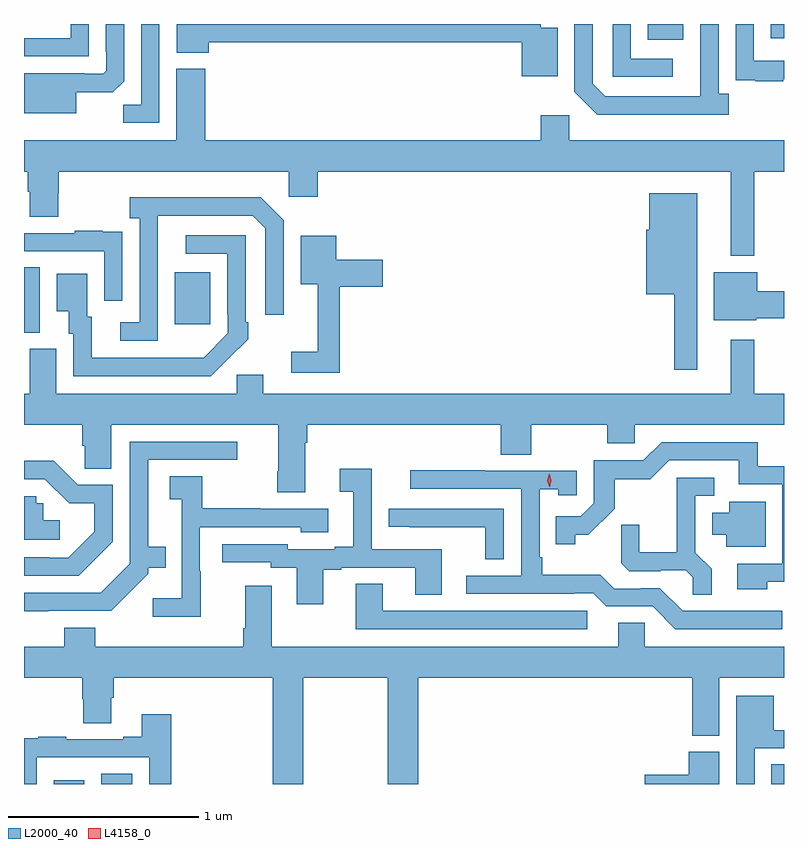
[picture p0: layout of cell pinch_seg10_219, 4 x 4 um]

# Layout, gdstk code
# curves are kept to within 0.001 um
import gdstk
lib = gdstk.Library(unit=1e-6, precision=1e-09)
def R(c, l, rs):  # rectangles x0, y0, x1, y1
    for r in rs: c.add(gdstk.rectangle(r[:2], r[2:], *l))
def P(c, l, *ps):  # polygons
    for p in ps: c.add(gdstk.Polygon(p, *l))
L2000_40 = (2000, 40)
L4158_0 = (4158, 0)

pinch_seg10_219 = lib.new_cell('pinch_seg10_219')
R(pinch_seg10_219, L2000_40, [(623.321,1297.093,623.482,1297.114), (623.57,1297.093,623.734,1297.148), (627.098,1297.093,627.164,1297.196), (623.164,1299.469,623.248,1299.812), (623.957,1299.513,624.145,1299.787), (626.447,1301.009,626.635,1301.093), (627.095,1301.019,627.164,1301.093)])
P(pinch_seg10_219, L2000_40, [(623.505,1301.093),(623.409,1301.093),(623.409,1301.019),(623.164,1301.019),(623.164,1300.923),(623.505,1300.923)],
  [(625.972,1301.074),(625.883,1301.074),(625.883,1301.093),(623.969,1301.093),(623.969,1300.943),(624.136,1300.943),(624.136,1300.996),(625.785,1300.996),(625.785,1300.817),(625.972,1300.817)],
  [(627.161,1300.803),(627.164,1300.803),(627.164,1300.899),(627.006,1300.899),(627.006,1301.093),(626.91,1301.093),(626.91,1300.906),(626.911,1300.906),(626.911,1300.797),(627.013,1300.797),(627.013,1300.791),(627.161,1300.791)],
  [(626.578,1300.911),(626.358,1300.911),(626.358,1301.093),(626.262,1301.093),(626.262,1300.815),(626.578,1300.815)],
  [(626.872,1300.726),(626.82,1300.726),(626.82,1301.093),(626.724,1301.093),(626.723,1300.713),(626.223,1300.713),(626.157,1300.779),(626.157,1301.093),(626.061,1301.093),(626.061,1300.737),(626.182,1300.616),(626.872,1300.616)],
  [(623.877,1301.093),(623.781,1301.093),(623.781,1300.667),(623.686,1300.667),(623.686,1300.572),(623.877,1300.572)],
  [(623.44,1300.733),(623.632,1300.733),(623.691,1300.792),(623.691,1301.093),(623.595,1301.093),(623.595,1300.948),(623.598,1300.948),(623.598,1300.848),(623.58,1300.83),(623.48,1300.83),(623.48,1300.834),(623.164,1300.834),(623.164,1300.622),(623.44,1300.622)],
  [(627.007,1300.316),(627.164,1300.316),(627.164,1300.48),(626.034,1300.48),(626.034,1300.612),(625.883,1300.612),(625.883,1300.48),(624.119,1300.48),(624.119,1300.858),(623.966,1300.858),(623.966,1300.48),(623.164,1300.48),(623.164,1300.316),(623.183,1300.316),(623.183,1300.21),(623.195,1300.21),(623.195,1300.078),(623.343,1300.078),(623.343,1300.203),(623.348,1300.203),(623.348,1300.316),(624.558,1300.316),(624.558,1300.185),(624.71,1300.185),(624.71,1300.316),(626.885,1300.316),(626.885,1299.872),(627.007,1299.872)],
  [(626.707,1300.201),(626.456,1300.201),(626.456,1300.011),(626.438,1300.011),(626.438,1299.671),(626.586,1299.671),(626.586,1299.273),(626.707,1299.273)],
  [(623.868,1299.883),(623.869,1300.083),(624.369,1300.083),(624.435,1300.017),(624.435,1299.564),(624.531,1299.564),(624.531,1300.059),(624.41,1300.18),(623.721,1300.18),(623.721,1300.07),(623.772,1300.07),(623.772,1299.522),(623.67,1299.522),(623.67,1299.426),(623.868,1299.426)],
  [(623.682,1299.89),(623.681,1299.89),(623.681,1299.999),(623.579,1299.999),(623.579,1300.006),(623.431,1300.006),(623.431,1299.993),(623.164,1299.993),(623.164,1299.897),(623.586,1299.897),(623.586,1299.636),(623.682,1299.636)],
  [(624.239,1299.331),(624.24,1299.33),(624.345,1299.435),(624.345,1299.523),(624.33,1299.523),(624.33,1299.981),(624.015,1299.981),(624.015,1299.885),(624.234,1299.885),(624.234,1299.565),(624.237,1299.565),(624.237,1299.465),(624.109,1299.337),(623.521,1299.336),(623.521,1299.552),(623.497,1299.552),(623.497,1299.778),(623.336,1299.778),(623.336,1299.581),(623.399,1299.581),(623.399,1299.462),(623.424,1299.462),(623.424,1299.24),(624.148,1299.24)],
  [(624.827,1299.71),(625.051,1299.71),(625.051,1299.852),(624.808,1299.852),(624.808,1299.979),(624.62,1299.979),(624.62,1299.722),(624.71,1299.722),(624.71,1299.367),(624.57,1299.367),(624.57,1299.258),(624.827,1299.258)],
  [(627.018,1299.544),(627.164,1299.544),(627.164,1299.686),(627.022,1299.686),(627.022,1299.787),(626.795,1299.787),(626.795,1299.533),(627.018,1299.533)],
  [(624.424,1299.246),(624.285,1299.246),(624.285,1299.148),(623.335,1299.148),(623.335,1299.384),(623.195,1299.384),(623.195,1299.148),(623.164,1299.148),(623.164,1298.984),(623.471,1298.984),(623.471,1298.874),(623.485,1298.874),(623.485,1298.752),(623.623,1298.752),(623.623,1298.984),(624.503,1298.984),(624.503,1298.74),(624.496,1298.74),(624.496,1298.628),(624.643,1298.628),(624.643,1298.888),(624.656,1298.888),(624.656,1298.984),(625.673,1298.984),(625.673,1298.827),(625.833,1298.827),(625.833,1298.984),(626.233,1298.984),(626.233,1298.886),(626.379,1298.886),(626.379,1298.984),(627.164,1298.984),(627.164,1299.148),(627.007,1299.148),(627.007,1299.43),(626.885,1299.43),(626.885,1299.148),(624.424,1299.148)],
  [(623.291,1298.004),(623.622,1298.004),(623.817,1298.199),(623.817,1298.231),(623.909,1298.231),(623.909,1298.341),(623.818,1298.341),(623.818,1298.799),(624.286,1298.799),(624.286,1298.895),(623.721,1298.895),(623.721,1298.253),(623.568,1298.1),(623.164,1298.1),(623.164,1298.003)],
  [(627.075,1298.157),(627.164,1298.157),(627.164,1298.766),(627.026,1298.766),(627.026,1298.892),(626.52,1298.892),(626.424,1298.796),(626.163,1298.796),(626.163,1298.571),(626.094,1298.502),(625.963,1298.502),(625.963,1298.355),(626.064,1298.355),(626.064,1298.405),(626.134,1298.405),(626.272,1298.542),(626.272,1298.698),(626.461,1298.698),(626.559,1298.796),(626.927,1298.796),(626.927,1298.67),(627.156,1298.67),(627.156,1298.253),(626.919,1298.253),(626.919,1298.117),(627.075,1298.117)],
  [(623.631,1298.369),(623.631,1298.667),(623.448,1298.667),(623.32,1298.795),(623.164,1298.795),(623.164,1298.697),(623.274,1298.697),(623.401,1298.57),(623.534,1298.57),(623.534,1298.42),(623.397,1298.283),(623.297,1298.283),(623.297,1298.286),(623.164,1298.286),(623.164,1298.19),(623.452,1298.19)],
  [(624.739,1298.22),(624.835,1298.22),(624.835,1298.232),(625.223,1298.232),(625.223,1298.089),(625.363,1298.089),(625.363,1298.328),(624.993,1298.328),(624.993,1298.752),(624.825,1298.752),(624.825,1298.632),(624.896,1298.632),(624.896,1298.341),(624.8,1298.341),(624.8,1298.328),(624.552,1298.328),(624.552,1298.355),(624.207,1298.355),(624.207,1298.259),(624.462,1298.259),(624.462,1298.232),(624.599,1298.232),(624.599,1298.04),(624.739,1298.04)],
  [(627.154,1298.004),(626.631,1298.004),(626.511,1298.124),(626.41,1298.124),(626.41,1298.121),(626.271,1298.121),(626.198,1298.194),(625.891,1298.194),(625.891,1298.287),(625.878,1298.287),(625.878,1298.645),(625.977,1298.645),(625.977,1298.613),(626.073,1298.613),(626.073,1298.742),(625.589,1298.742),(625.589,1298.745),(625.197,1298.745),(625.197,1298.646),(625.782,1298.646),(625.782,1298.19),(625.491,1298.19),(625.491,1298.094),(626.06,1298.094),(626.06,1298.097),(626.16,1298.097),(626.229,1298.028),(626.472,1298.028),(626.592,1297.908),(627.154,1297.908)],
  [(624.093,1298.213),(624.09,1298.213),(624.09,1298.445),(624.621,1298.445),(624.621,1298.417),(624.766,1298.417),(624.766,1298.541),(624.407,1298.541),(624.407,1298.544),(624.103,1298.544),(624.103,1298.714),(623.931,1298.714),(623.931,1298.593),(623.994,1298.593),(623.994,1298.071),(623.841,1298.071),(623.841,1297.973),(624.093,1297.973)],
  [(626.783,1298.225),(626.697,1298.311),(626.697,1298.61),(626.797,1298.61),(626.797,1298.706),(626.6,1298.706),(626.6,1298.314),(626.402,1298.314),(626.402,1298.457),(626.308,1298.457),(626.308,1298.255),(626.349,1298.214),(626.514,1298.214),(626.514,1298.217),(626.648,1298.217),(626.685,1298.18),(626.685,1298.089),(626.783,1298.089)],
  [(623.353,1298.482),(623.265,1298.482),(623.265,1298.571),(623.229,1298.571),(623.229,1298.607),(623.164,1298.607),(623.164,1298.379),(623.353,1298.379)],
  [(627.067,1298.578),(626.876,1298.578),(626.876,1298.521),(626.786,1298.521),(626.786,1298.405),(626.861,1298.405),(626.861,1298.342),(627.067,1298.342)],
  [(625.689,1298.541),(625.083,1298.541),(625.083,1298.446),(625.195,1298.446),(625.195,1298.445),(625.591,1298.445),(625.591,1298.275),(625.689,1298.275)],
  [(626.128,1298.004),(625.051,1298.004),(625.051,1298.147),(624.911,1298.147),(624.911,1297.908),(626.128,1297.908)],
  [(624.633,1297.652),(625.078,1297.652),(625.078,1297.093),(625.238,1297.093),(625.238,1297.652),(626.681,1297.652),(626.681,1297.348),(626.824,1297.348),(626.824,1297.652),(627.164,1297.652),(627.164,1297.816),(626.43,1297.816),(626.43,1297.943),(626.291,1297.943),(626.291,1297.816),(624.469,1297.816),(624.469,1298.137),(624.329,1298.137),(624.329,1297.912),(624.317,1297.912),(624.317,1297.816),(623.54,1297.816),(623.54,1297.915),(623.375,1297.915),(623.375,1297.816),(623.164,1297.816),(623.164,1297.652),(623.471,1297.652),(623.471,1297.539),(623.476,1297.539),(623.476,1297.414),(623.623,1297.414),(623.623,1297.546),(623.636,1297.546),(623.636,1297.652),(624.473,1297.652),(624.473,1297.093),(624.633,1297.093)],
  [(627.009,1297.281),(627.164,1297.281),(627.164,1297.377),(627.109,1297.377),(627.109,1297.558),(626.913,1297.558),(626.913,1297.093),(627.009,1297.093)],
  [(623.232,1297.233),(623.823,1297.233),(623.823,1297.093),(623.939,1297.093),(623.939,1297.459),(623.783,1297.459),(623.783,1297.342),(623.687,1297.342),(623.687,1297.329),(623.387,1297.329),(623.387,1297.342),(623.239,1297.342),(623.239,1297.335),(623.164,1297.335),(623.164,1297.093),(623.232,1297.093)],
  [(626.824,1297.263),(626.663,1297.263),(626.663,1297.142),(626.43,1297.142),(626.43,1297.093),(626.824,1297.093)])
P(pinch_seg10_219, L4158_0, [(625.93,1298.655),(625.919,1298.69),(625.928,1298.727),(625.928,1298.727),(625.928,1298.727),(625.939,1298.691),(625.931,1298.655),(625.931,1298.655)])

lib.write_gds('pinch_seg10_219.gds')
